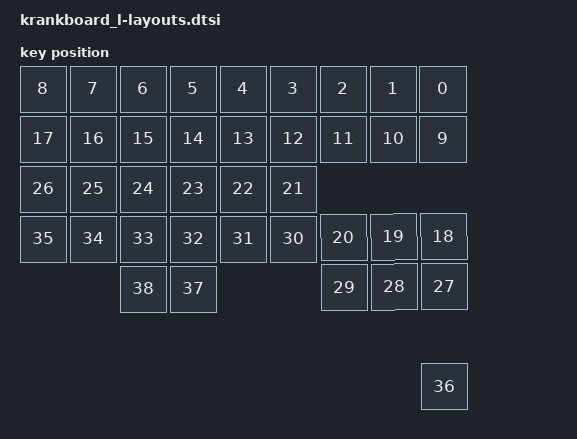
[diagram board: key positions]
#include <physical_layouts.dtsi>

/ {
    physical_layout0: physical_layout0{
        compatible = "zmk,physical-layout";
        display-name = "krankboard_l";
        transform = <&default_transform>;
        kscan = <&kscan0>;
        keys   //                 w   h    x    y     rot    rx    ry
           = <&key_physical_attrs 100 100 800    0       0     0     0>,
            <&key_physical_attrs 100 100  700    0       0     0     0>,
            <&key_physical_attrs 100 100  600    0       0     0     0>,
            <&key_physical_attrs 100 100  500    0       0     0     0>,
            <&key_physical_attrs 100 100  400    0       0     0     0>,
            <&key_physical_attrs 100 100  300    0       0     0     0>,
            <&key_physical_attrs 100 100  200    0       0     0     0>,
            <&key_physical_attrs 100 100  100    0       0     0     0>,
            <&key_physical_attrs 100 100    0    0       0     0     0>,


            <&key_physical_attrs 100 100  800    100       0     0     0>,
            <&key_physical_attrs 100 100  700    100       0     0     0>,
            <&key_physical_attrs 100 100  600    100       0     0     0>,
            <&key_physical_attrs 100 100  500    100       0     0     0>,
            <&key_physical_attrs 100 100  400    100       0     0     0>,
            <&key_physical_attrs 100 100  300    100       0     0     0>,
            <&key_physical_attrs 100 100  200    100       0     0     0>,
            <&key_physical_attrs 100 100  100    100       0     0     0>,
            <&key_physical_attrs 100 100    0    100       0     0     0>,


            <&key_physical_attrs 100 100  800    300       (-30) 0     0>,
            <&key_physical_attrs 100 100  700    300       (-30) 0     0>,
            <&key_physical_attrs 100 100  600    300       (-30) 0     0>,

            <&key_physical_attrs 100 100  500    200       0     0     0>,
            <&key_physical_attrs 100 100  400    200       0     0     0>,
            <&key_physical_attrs 100 100  300    200       0     0     0>,
            <&key_physical_attrs 100 100  200    200       0     0     0>,
            <&key_physical_attrs 100 100  100    200       0     0     0>,
            <&key_physical_attrs 100 100    0    200       0     0     0>,


            <&key_physical_attrs 100 100  800    400       (-30) 0     0>,
            <&key_physical_attrs 100 100  700    400       (-30) 0     0>,
            <&key_physical_attrs 100 100  600    400       (-30) 0     0>,

            <&key_physical_attrs 100 100  500    300       0     0     0>,
            <&key_physical_attrs 100 100  400    300       0     0     0>,
            <&key_physical_attrs 100 100  300    300       0     0     0>,
            <&key_physical_attrs 100 100  200    300       0     0     0>,
            <&key_physical_attrs 100 100  100    300       0     0     0>,
            <&key_physical_attrs 100 100    0    300       0     0     0>,


            <&key_physical_attrs 100 100  800    600    (-30) 0     0>,
            <&key_physical_attrs 100 100  300    400    0     0     0>,
            <&key_physical_attrs 100 100  200    400    0     0     0>;
    };

    krankboard_l_position_map {
        compatible = "zmk,physical-layout-position-map";
        complete;

        krankboard_l_map: krankboard_l {
            physical-layout = <&physical_layout0>;
            positions =
                <8  7  6  5  4  3  2  1  0>,
                <17 16 15 14 13 12 11 10 9>,
                <26 25 24 23 22 21 20 19 18>,
                <35 34 33 32 31 30 29 28 27>,
                <      37 36             35>;
        };
    };
};
